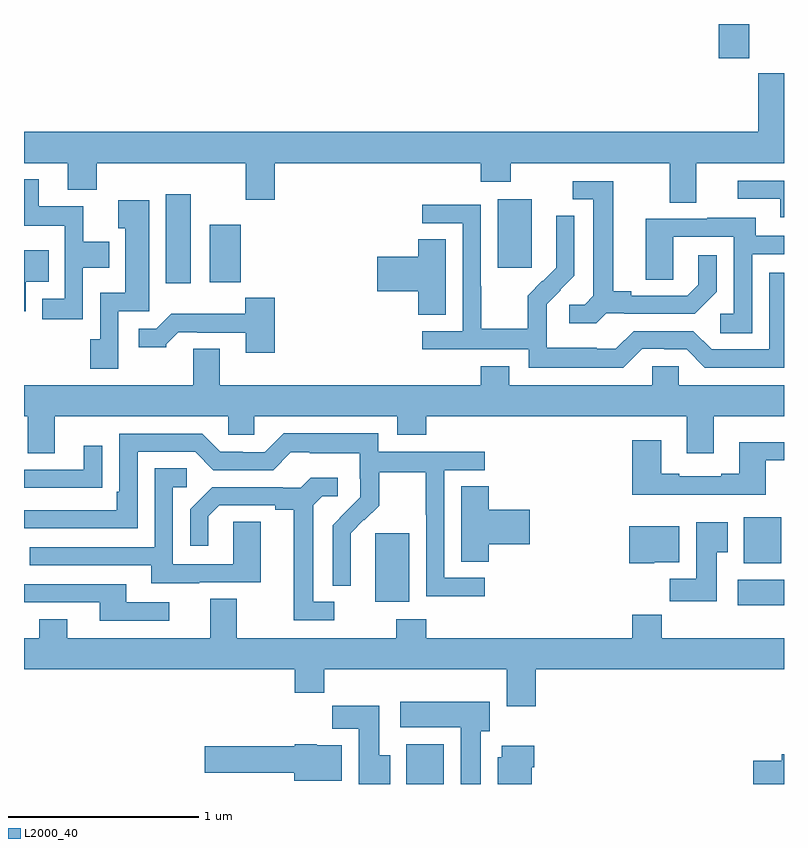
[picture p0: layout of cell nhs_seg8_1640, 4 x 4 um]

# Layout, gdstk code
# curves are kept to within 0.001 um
import gdstk
lib = gdstk.Library(unit=1e-6, precision=1e-09)
def R(c, l, rs):  # rectangles x0, y0, x1, y1
    for r in rs: c.add(gdstk.rectangle(r[:2], r[2:], *l))
def P(c, l, *ps):  # polygons
    for p in ps: c.add(gdstk.Polygon(p, *l))
L2000_40 = (2000, 40)

nhs_seg8_1640 = lib.new_cell('nhs_seg8_1640')
R(nhs_seg8_1640, L2000_40, [(217.013,1111.9,217.21,1112.11), (218.757,1112.84,219,1112.974), (216.848,1112.858,217.027,1113.219), (218.789,1113.062,218.986,1113.304), (215.747,1114.536,215.878,1115.005), (217.493,1114.617,217.672,1114.978), (218.657,1115.721,218.817,1115.9)])
P(nhs_seg8_1640, L2000_40, [(218.539,1115.168),(219,1115.168),(219,1115.641),(218.864,1115.641),(218.864,1115.332),(215,1115.332),(215,1115.168),(215.231,1115.168),(215.231,1115.027),(215.384,1115.027),(215.384,1115.168),(216.167,1115.168),(216.167,1114.974),(216.32,1114.974),(216.32,1115.168),(217.403,1115.168),(217.403,1115.069),(217.563,1115.069),(217.563,1115.168),(218.399,1115.168),(218.399,1114.96),(218.539,1114.96)],
  [(215.31,1114.616),(215.449,1114.616),(215.449,1114.755),(215.312,1114.755),(215.312,1114.942),(215.077,1114.942),(215.077,1115.083),(215,1115.083),(215,1114.838),(215.214,1114.838),(215.214,1114.455),(215.097,1114.455),(215.097,1114.347),(215.31,1114.347)],
  [(219,1115.076),(218.757,1115.076),(218.757,1114.98),(218.981,1114.98),(218.981,1114.884),(219,1114.884)],
  [(218.064,1114.377),(218.158,1114.377),(218.158,1114.374),(218.53,1114.374),(218.646,1114.49),(218.646,1114.684),(218.549,1114.684),(218.549,1114.527),(218.492,1114.47),(218.197,1114.47),(218.197,1114.493),(218.101,1114.493),(218.101,1115.073),(217.887,1115.073),(217.887,1114.977),(217.997,1114.977),(217.997,1114.469),(217.95,1114.422),(217.869,1114.422),(217.869,1114.325),(218.012,1114.325)],
  [(215.496,1114.389),(215.659,1114.389),(215.659,1114.972),(215.495,1114.972),(215.495,1114.826),(215.534,1114.826),(215.534,1114.486),(215.4,1114.486),(215.4,1114.242),(215.348,1114.242),(215.348,1114.086),(215.496,1114.086)],
  [(218.253,1114.191),(218.369,1114.191),(218.369,1114.188),(218.487,1114.188),(218.583,1114.092),(219,1114.092),(219,1114.59),(218.922,1114.59),(218.922,1114.188),(218.619,1114.188),(218.523,1114.284),(218.208,1114.284),(218.115,1114.191),(218.015,1114.191),(218.015,1114.195),(217.752,1114.195),(217.752,1114.329),(217.75,1114.329),(217.75,1114.426),(217.896,1114.574),(217.896,1114.892),(217.8,1114.892),(217.8,1114.738),(217.802,1114.738),(217.802,1114.616),(217.731,1114.545),(217.728,1114.548),(217.651,1114.471),(217.651,1114.297),(217.407,1114.297),(217.407,1114.52),(217.404,1114.52),(217.404,1114.95),(217.095,1114.95),(217.095,1114.851),(217.308,1114.851),(217.308,1114.284),(217.095,1114.284),(217.095,1114.188),(217.656,1114.188),(217.656,1114.091),(218.153,1114.091)],
  [(218.832,1114.689),(219,1114.689),(219,1114.785),(218.851,1114.785),(218.851,1114.879),(218.597,1114.879),(218.597,1114.875),(218.273,1114.875),(218.273,1114.555),(218.418,1114.555),(218.418,1114.779),(218.736,1114.779),(218.736,1114.374),(218.664,1114.374),(218.664,1114.273),(218.832,1114.273)],
  [(216.14,1114.689),(216.142,1114.689),(216.142,1114.843),(215.978,1114.843),(215.978,1114.541),(216.14,1114.541)],
  [(217.219,1114.766),(217.076,1114.766),(217.076,1114.676),(216.858,1114.676),(216.858,1114.493),(217.076,1114.493),(217.076,1114.369),(217.219,1114.369)],
  [(215.008,1114.544),(215.129,1114.544),(215.129,1114.708),(215,1114.708),(215,1114.387),(215.008,1114.387)],
  [(216.32,1114.459),(216.165,1114.459),(216.165,1114.375),(215.776,1114.375),(215.697,1114.296),(215.604,1114.296),(215.604,1114.199),(215.748,1114.199),(215.748,1114.214),(215.812,1114.278),(215.911,1114.278),(215.911,1114.275),(216.167,1114.275),(216.167,1114.17),(216.32,1114.17)],
  [(215.161,1113.836),(216.075,1113.836),(216.075,1113.738),(216.213,1113.738),(216.213,1113.836),(216.965,1113.836),(216.965,1113.737),(217.118,1113.737),(217.118,1113.836),(218.489,1113.836),(218.489,1113.642),(218.629,1113.642),(218.629,1113.836),(219,1113.836),(219,1114),(218.445,1114),(218.445,1114.098),(218.307,1114.098),(218.307,1114),(217.555,1114),(217.555,1114.099),(217.403,1114.099),(217.403,1114),(216.031,1114),(216.031,1114.19),(215.891,1114.19),(215.891,1114),(215,1114),(215,1113.836),(215.021,1113.836),(215.021,1113.642),(215.161,1113.642)],
  [(217.426,1112.985),(217.212,1112.985),(217.212,1113.552),(217.426,1113.552),(217.426,1113.648),(216.864,1113.648),(216.864,1113.745),(216.367,1113.745),(216.267,1113.645),(216.152,1113.645),(216.152,1113.648),(216.033,1113.648),(215.937,1113.744),(215.502,1113.744),(215.502,1113.439),(215.489,1113.439),(215.489,1113.342),(215,1113.342),(215,1113.246),(215.598,1113.246),(215.598,1113.648),(215.901,1113.648),(215.997,1113.552),(216.312,1113.552),(216.405,1113.645),(216.505,1113.645),(216.505,1113.641),(216.768,1113.641),(216.768,1113.507),(216.77,1113.507),(216.77,1113.41),(216.624,1113.262),(216.624,1112.944),(216.72,1112.944),(216.719,1113.221),(216.789,1113.291),(216.792,1113.288),(216.869,1113.365),(216.869,1113.54),(217.114,1113.54),(217.114,1113.316),(217.116,1113.316),(217.116,1112.887),(217.426,1112.887)],
  [(218.905,1113.603),(219,1113.603),(219,1113.7),(218.765,1113.7),(218.765,1113.532),(218.669,1113.532),(218.669,1113.519),(218.449,1113.519),(218.449,1113.532),(218.353,1113.532),(218.353,1113.709),(218.201,1113.709),(218.201,1113.422),(218.905,1113.422)],
  [(215.309,1113.46),(215.411,1113.46),(215.411,1113.679),(215.315,1113.679),(215.315,1113.555),(215,1113.555),(215,1113.459),(215.309,1113.459)],
  [(215.923,1112.961),(216.247,1112.961),(216.247,1113.281),(216.102,1113.281),(216.102,1113.057),(215.784,1113.057),(215.784,1113.462),(215.857,1113.462),(215.857,1113.563),(215.688,1113.563),(215.688,1113.147),(215.029,1113.147),(215.029,1113.051),(215.669,1113.051),(215.669,1112.957),(215.923,1112.957)],
  [(216.634,1112.859),(216.523,1112.859),(216.523,1113.367),(216.57,1113.414),(216.652,1113.414),(216.652,1113.511),(216.508,1113.511),(216.456,1113.459),(216.362,1113.459),(216.362,1113.462),(215.99,1113.462),(215.874,1113.346),(215.874,1113.153),(215.971,1113.153),(215.971,1113.309),(216.028,1113.366),(216.323,1113.366),(216.323,1113.344),(216.419,1113.344),(216.419,1112.763),(216.634,1112.763)],
  [(217.445,1113.161),(217.663,1113.161),(217.663,1113.344),(217.445,1113.344),(217.445,1113.467),(217.301,1113.467),(217.301,1113.07),(217.445,1113.07)],
  [(218.647,1113.121),(218.704,1113.121),(218.704,1113.277),(218.537,1113.277),(218.537,1112.98),(218.398,1112.98),(218.398,1112.862),(218.647,1112.862)],
  [(218.316,1113.068),(218.449,1113.068),(218.449,1113.256),(218.186,1113.256),(218.186,1113.062),(218.316,1113.062)],
  [(215.764,1112.856),(215.539,1112.856),(215.539,1112.952),(215,1112.952),(215,1112.856),(215.399,1112.856),(215.399,1112.76),(215.764,1112.76)],
  [(217.694,1112.504),(219,1112.504),(219,1112.668),(218.357,1112.668),(218.357,1112.792),(218.201,1112.792),(218.201,1112.668),(217.118,1112.668),(217.118,1112.767),(216.958,1112.767),(216.958,1112.668),(216.121,1112.668),(216.121,1112.876),(215.981,1112.876),(215.981,1112.668),(215.227,1112.668),(215.227,1112.767),(215.08,1112.767),(215.08,1112.668),(215,1112.668),(215,1112.504),(216.425,1112.504),(216.425,1112.38),(216.581,1112.38),(216.581,1112.504),(217.541,1112.504),(217.541,1112.31),(217.694,1112.31)],
  [(217.405,1112.178),(217.45,1112.178),(217.45,1112.332),(216.981,1112.332),(216.981,1112.198),(217.298,1112.198),(217.298,1111.9),(217.405,1111.9)],
  [(216.928,1112.052),(216.871,1112.052),(216.871,1112.311),(216.622,1112.311),(216.622,1112.192),(216.761,1112.192),(216.761,1111.9),(216.928,1111.9)],
  [(216.673,1112.104),(216.54,1112.104),(216.54,1112.11),(216.426,1112.11),(216.426,1112.1),(215.952,1112.1),(215.952,1111.958),(216.422,1111.958),(216.422,1111.916),(216.673,1111.916)],
  [(217.672,1111.988),(217.685,1111.988),(217.685,1112.101),(217.514,1112.101),(217.514,1112.04),(217.493,1112.04),(217.493,1111.9),(217.672,1111.9)],
  [(219,1112.056),(218.987,1112.056),(218.987,1112.022),(218.838,1112.022),(218.838,1111.9),(219,1111.9)])

lib.write_gds('nhs_seg8_1640.gds')
